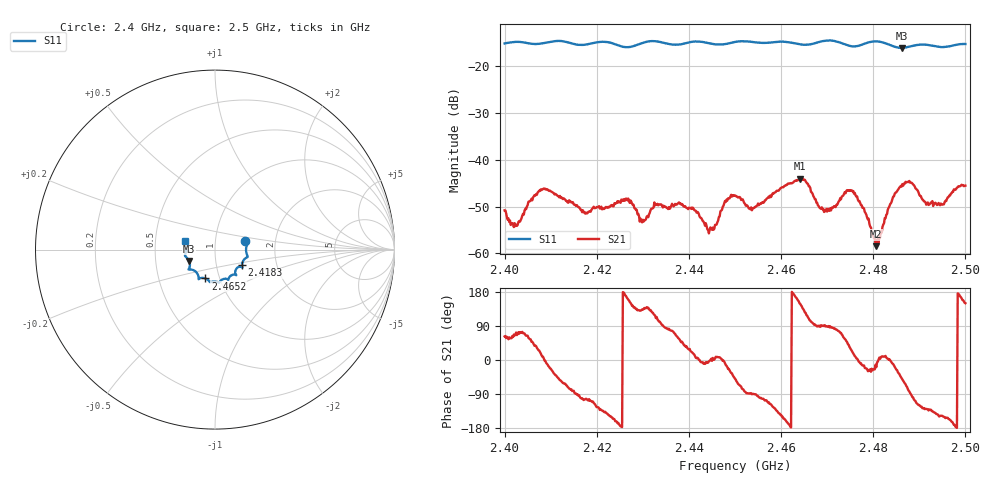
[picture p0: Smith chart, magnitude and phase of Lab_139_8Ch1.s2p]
# Hz S RI R 50
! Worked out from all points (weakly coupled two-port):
!   601 points, 2.4 GHz to 2.5 GHz, reference 50 ohm
!   highest |S21| = -44.02 dB at 2.4642 GHz (marker M1); lowest = -58.5 dB at 2.4807 GHz (marker M2)
!   lowest |S11| = -16.1 dB at 2.4862 GHz (marker M3), VSWR 1.37, Z = 37.2 - j4.83 ohm
!   |S11| at or under -10 dB: start of sweep to end of sweep
!   S12 and S22 are empty: the file has one direction only
!   S11 on the Smith chart (normalised r, x): 2.4 GHz: 1.40, +0.14; 2.4183 GHz: 1.33, -0.24; 2.4652 GHz: 0.85, -0.28; 2.5 GHz: 0.71, +0.07
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2.4e9  0.1688 0.0471  0.00135 0.00255  0 0  0 0
2.4025e9  0.1789 0.0355  0.000606 0.00194  0 0  0 0
2.408667e9  0.176 -0.0232  0.00487 -0.000129  0 0  0 0
2.416667e9  0.1546 -0.0681  -0.000582 -0.00286  0 0  0 0
2.418333e9  0.1502 -0.0866  -0.000642 -0.00272  0 0  0 0
2.4265e9  0.1216 -0.1038  -0.0037 0.000988  0 0  0 0
2.430167e9  0.1143 -0.1378  -0.00153 0.00157  0 0  0 0
2.433333e9  0.1174 -0.1409  -0.000807 0.00317  0 0  0 0
2.441e9  0.0752 -0.1674  0.0029 0.00082  0 0  0 0
2.4445e9  0.0654 -0.1631  0.00179 -6.62e-05  0 0  0 0
2.45e9  0.026 -0.18  0.00269 -0.00316  0 0  0 0
2.453667e9  0.0162 -0.1815  -1.33e-05 -0.00289  0 0  0 0
2.464167e9  -0.0442 -0.1656  -0.00533 0.00334  0 0  0 0
2.465167e9  -0.0545 -0.1607  -0.00357 0.00497  0 0  0 0
2.466667e9  -0.0711 -0.1576  -0.00075 0.00442  0 0  0 0
2.469833e9  -0.0911 -0.1647  4.47e-05 0.003  0 0  0 0
2.4755e9  -0.1053 -0.1247  0.00429 0.00165  0 0  0 0
2.480667e9  -0.1476 -0.1109  0.00113 -0.000388  0 0  0 0
2.483333e9  -0.1412 -0.0967  0.00307 4.05e-05  0 0  0 0
2.486167e9  -0.1438 -0.0634  0.00349 -0.00384  0 0  0 0
2.494833e9  -0.1603 0.00109  -0.00281 -0.00182  0 0  0 0
2.5e9  -0.1665 0.047  -0.00458 0.00266  0 0  0 0
